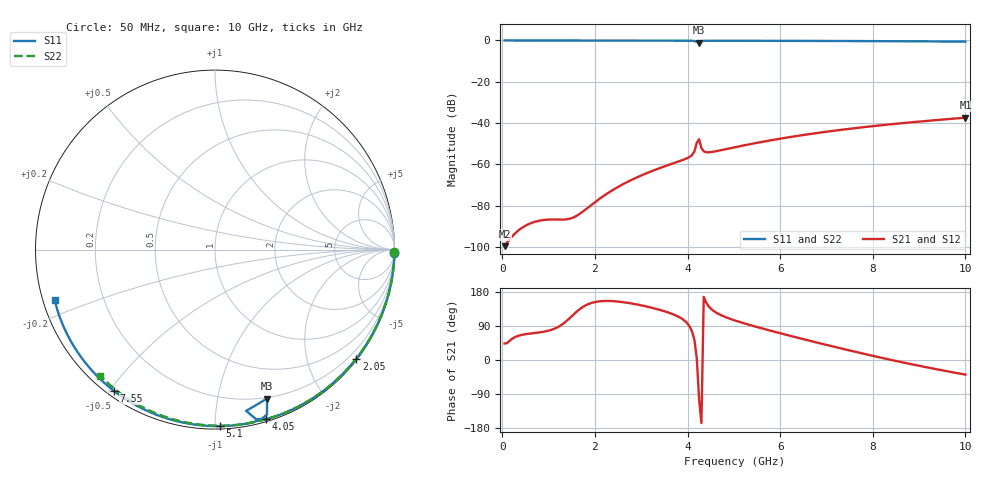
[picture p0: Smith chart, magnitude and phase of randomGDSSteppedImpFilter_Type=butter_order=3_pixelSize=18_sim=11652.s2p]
! freq	dB(S11)	phase(S11)	dB(S12)	phase(S12)
!  dB(S21)	phase(S21)	dB(S22)	phase(S22)
!S-par simulation data
#  GHz  S  DB  R 50
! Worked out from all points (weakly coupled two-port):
!   200 points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, 50 MHz to 10 GHz, reference 50 ohm
!   highest |S21| = -37.43 dB at 10 GHz (marker M1); lowest = -99.7 dB at 50 MHz (marker M2)
!   lowest |S11| = -1.1 dB at 4.25 GHz (marker M3), VSWR 15.57, Z = 9.51 - j69.6 ohm
!   |S11| at or under -10 dB: nowhere
!   |S22| runs from -0.4 to 0.0 dB; largest |S21 - S12| = 0
!   S11 on the Smith chart (normalised r, x): 50 MHz: open; 2.05 GHz: 0.03, -2.94; 4.05 GHz: 0.02, -1.34; 5.1 GHz: 0.02, -1.03; 7.55 GHz: 0.02, -0.51; 10 GHz: 0.03, -0.15
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0.05  -0.00 -0.9  -99.70 43.6  -99.70 43.6  -0.00 -0.8
0.85  -0.02 -15.8  -87.14 73.7  -87.14 73.7  -0.01 -12.9
1.75  -0.04 -32.2  -82.76 140.7  -82.76 140.7  -0.03 -26.4
1.9  -0.04 -34.9  -80.14 149.5  -80.14 149.5  -0.04 -28.6
2.05  -0.05 -37.6  -77.56 154.0  -77.56 154.0  -0.04 -30.8
2.65  -0.06 -48.2  -69.16 151.9  -69.16 151.9  -0.05 -39.5
3.4  -0.08 -61.3  -61.86 132.3  -61.86 132.3  -0.07 -50.2
4.05  -0.13 -73.3  -56.36 87.5  -56.36 87.5  -0.08 -59.2
4.1  -0.16 -74.6  -55.44 74.6  -55.44 74.6  -0.08 -59.9
4.15  -0.26 -76.5  -53.68 52.2  -53.68 52.2  -0.08 -60.6
4.2  -0.77 -79.1  -49.57 4.2  -49.57 4.2  -0.09 -61.3
4.25  -1.12 -70.7  -47.89 -104.8  -47.89 -104.8  -0.09 -61.9
4.3  -0.33 -72.5  -52.17 -166.6  -52.17 -166.6  -0.09 -62.6
4.35  -0.19 -74.5  -53.72 166.8  -53.72 166.8  -0.09 -63.3
4.4  -0.16 -75.9  -54.16 152.2  -54.16 152.2  -0.09 -64.0
5.05  -0.14 -87.5  -51.62 103.2  -51.62 103.2  -0.11 -72.6
5.1  -0.14 -88.3  -51.39 101.3  -51.39 101.3  -0.11 -73.3
5.9  -0.18 -100.9  -47.99 73.8  -47.99 73.8  -0.14 -83.6
6.7  -0.22 -113.0  -45.16 48.9  -45.16 48.9  -0.18 -93.6
7.55  -0.28 -125.6  -42.67 23.7  -42.67 23.7  -0.23 -103.9
8.35  -0.36 -137.4  -40.71 1.5  -40.71 1.5  -0.29 -113.3
10  -0.57 -162.6  -37.43 -38.5  -37.43 -38.5  -0.45 -132.3
